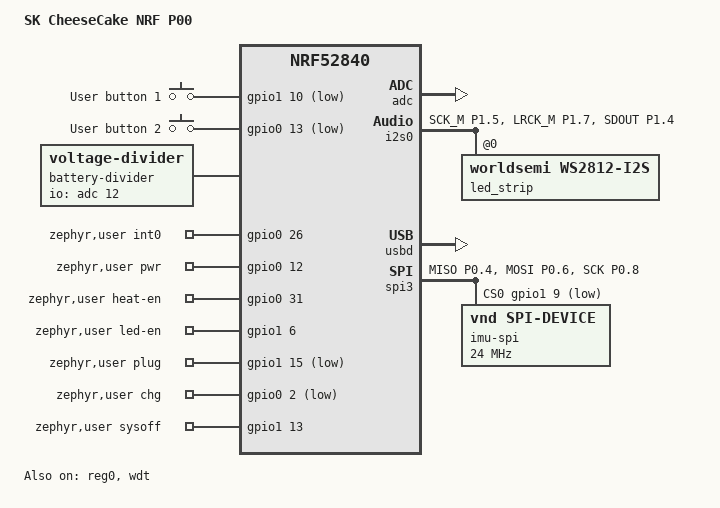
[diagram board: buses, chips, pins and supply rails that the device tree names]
// Copyright (c) 2026
// SPDX-License-Identifier: Apache-2.0

/dts-v1/;
#include <nordic/nrf52840_qiaa.dtsi>
#include <zephyr/dt-bindings/led/led.h>

&pinctrl {
	i2s0_default: i2s0_default {
		group1 {
			psels = <NRF_PSEL(I2S_SCK_M, 1, 5)>,
				<NRF_PSEL(I2S_LRCK_M, 1, 7)>,
				<NRF_PSEL_DISCONNECTED(I2S_MCK)>,
				<NRF_PSEL(I2S_SDOUT, 1, 4)>,
				<NRF_PSEL_DISCONNECTED(I2S_SDIN)>;
		};
	};

	i2s0_sleep: i2s0_sleep {
		group1 {
			psels = <NRF_PSEL(I2S_SCK_M, 1, 5)>,
				<NRF_PSEL(I2S_LRCK_M, 1, 7)>,
				<NRF_PSEL_DISCONNECTED(I2S_MCK)>,
				<NRF_PSEL(I2S_SDOUT, 1, 4)>,
				<NRF_PSEL_DISCONNECTED(I2S_SDIN)>;
			low-power-enable;
		};
	};

	spi3_default: spi3_default {
		group1 {
			psels = <NRF_PSEL(SPIM_MISO, 0, 4)>,
				<NRF_PSEL(SPIM_MOSI, 0, 6)>,
				<NRF_PSEL(SPIM_SCK, 0, 8)>;
		};
	};

	spi3_sleep: spi3_sleep {
		group1 {
			psels = <NRF_PSEL(SPIM_MISO, 0, 4)>,
				<NRF_PSEL(SPIM_MOSI, 0, 6)>,
				<NRF_PSEL(SPIM_SCK, 0, 8)>;
			low-power-enable;
		};
	};
};

/ {
	model = "SK CheeseCake NRF P00";
	compatible = "kemopati,sk-cheesecake-nrf-p00";

	chosen {
		zephyr,sram = &sram0;
		zephyr,flash = &flash0;
		zephyr,console = &cdc_acm_uart0;
		zephyr,shell-uart = &cdc_acm_uart0;
	};

	buttons {
		compatible = "gpio-keys";

		button0: button_0 {
			gpios = <&gpio1 10 (GPIO_PULL_UP | GPIO_ACTIVE_LOW)>;
			label = "User button 1";
		};

		/*
		 * Second user button, fitted on the P00 only. No firmware path
		 * consumes sw1 yet; it is kept for a heated T-Cal entry point.
		 */
		button1: button_1 {
			gpios = <&gpio0 13 (GPIO_PULL_UP | GPIO_ACTIVE_LOW)>;
			label = "User button 2";
		};
	};

	aliases {
		sw0 = &button0;
		sw1 = &button1;
		led-strip = &led_strip;
	};

	battery-divider {
		compatible = "voltage-divider";
		status = "okay";
		io-channels = <&adc 12>; /* VDDH/5 */
		output-ohms = <1>;
		full-ohms = <5>;
	};

	zephyr,user {
		int0-gpios = <&gpio0 26 0>;
		pwr-gpios = <&gpio0 12 GPIO_ACTIVE_HIGH>;
		heat-en-gpios = <&gpio0 31 GPIO_ACTIVE_HIGH>;
		led-en-gpios = <&gpio1 6 GPIO_ACTIVE_HIGH>;
		plug-gpios = <&gpio1 15 (GPIO_ACTIVE_LOW | GPIO_PULL_UP)>;
		chg-gpios = <&gpio0 2 (GPIO_ACTIVE_LOW | GPIO_PULL_UP)>;
		sysoff-gpios = <&gpio1 13 GPIO_ACTIVE_HIGH>;
	};
};

&reg0 {
	status = "okay";
};

&reg1 {
	regulator-initial-mode = <NRF5X_REG_MODE_DCDC>;
};

&adc {
	status = "okay";
};

&gpiote {
	status = "okay";
};

&gpio0 {
	status = "okay";
};

&gpio1 {
	status = "okay";
};

&i2s0 {
	status = "okay";
	pinctrl-0 = <&i2s0_default>;
	pinctrl-1 = <&i2s0_sleep>;
	pinctrl-names = "default", "sleep";

	led_strip: ws2812@0 {
		compatible = "worldsemi,ws2812-i2s";
		reg = <0>;
		chain-length = <1>;
		color-mapping = <LED_COLOR_ID_GREEN
				 LED_COLOR_ID_RED
				 LED_COLOR_ID_BLUE>;
		out-active-low;
		/* XL-2121RGBC-WS2812B requires more than 80 us of reset delay. */
		reset-delay = <100>;
	};
};

zephyr_udc0: &usbd {
	compatible = "nordic,nrf-usbd";
	status = "okay";
	cdc_acm_uart0: cdc_acm_uart0 {
		compatible = "zephyr,cdc-acm-uart";
	};
};

&wdt {
	status = "okay";
};

&cryptocell {
	status = "disabled";
};

&nfct {
	status = "disabled";
};

&spi3 {
	compatible = "nordic,nrf-spim";
	status = "okay";
	max-frequency = <DT_FREQ_M(24)>;
	pinctrl-0 = <&spi3_default>;
	pinctrl-1 = <&spi3_sleep>;
	pinctrl-names = "default", "sleep";
	cs-gpios = <&gpio1 9 GPIO_ACTIVE_LOW>;

	imu_spi: imu_spi@0 {
		compatible = "vnd,spi-device";
		spi-max-frequency = <DT_FREQ_M(24)>;
		label = "imu-spi";
		reg = <0>;
	};
};
